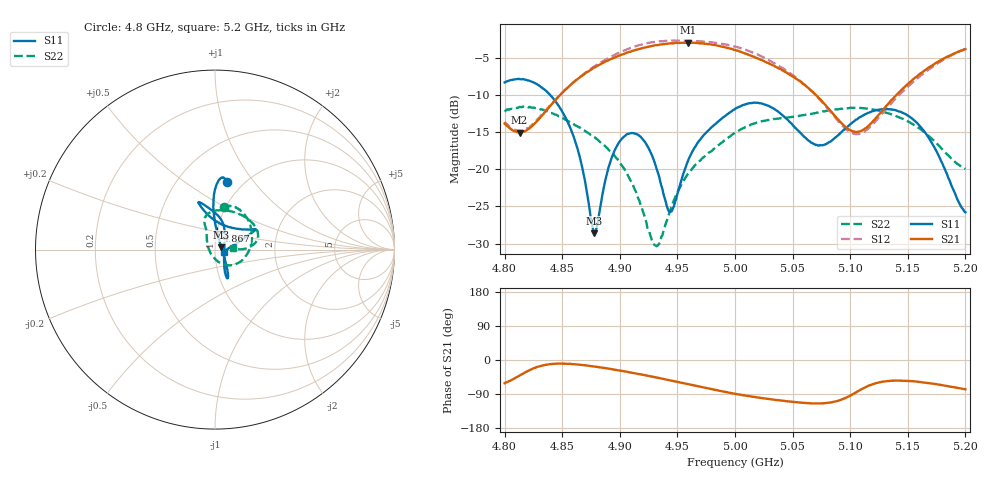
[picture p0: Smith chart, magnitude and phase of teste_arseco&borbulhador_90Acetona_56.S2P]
! Network Analyzer HP8722D
! Hewlett-Packard
! Data name: Linha & Wilkinson
! Saver's name: Rodrigo Anjos
! Comments: Teste da utilização de aquisição
! continua pelo VNA HP8722D
! Time and date: 17/4/2025 11:31
!  Frequency  S11  S21  S12  S22
# HZ  S  MA R 50
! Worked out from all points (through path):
!   401 points, 4.8 GHz to 5.2 GHz, reference 50 ohm
!   highest |S21| = -2.97 dB at 4.959 GHz (marker M1); lowest = -15.1 dB at 4.813 GHz (marker M2)
!   lowest |S11| = -28.6 dB at 4.878 GHz (marker M3), VSWR 1.08, Z = 53.6 + j1.31 ohm
!   |S11| at or under -10 dB: 4.839 GHz to end of sweep
!   |S22| runs from -30.4 to -11.6 dB; largest |S21 - S12| = 1.4
!   S11 on the Smith chart (normalised r, x): 4.8 GHz: 0.84, +0.75; 4.867 GHz: 1.00, +0.21; 5.2 GHz: 1.10, -0.03
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4.8e9  0.3833 79.9  0.2027 -61.1  0.2082 73.9  0.244 78.6
4.813e9  0.4038 83.9  0.1763 -41.0  0.1814 92.3  0.2623 67.8
4.845e9  0.2803 91.7  0.2962 -9.7  0.2991 122.9  0.2318 28.7
4.858e9  0.1812 91.2  0.3734 -10.5  0.3741 124.1  0.2041 9.5
4.867e9  0.1058 84.8  0.424 -13.2  0.4271 123.4  0.1863 -3.8
4.878e9  0.03712 19.2  0.4825 -17.2  0.4911 121.3  0.1641 -20.6
4.892e9  0.1135 -55.5  0.5497 -23.6  0.5688 116.6  0.1318 -40.7
4.904e9  0.1665 -64.2  0.5969 -29.8  0.6284 111.8  0.1003 -57.3
4.92e9  0.1588 -67.5  0.6526 -39.2  0.6947 103.1  0.05199 -89.9
4.929e9  0.1181 -63.4  0.6769 -44.5  0.7166 97.7  0.03244 -134.0
4.934e9  0.08987 -55.6  0.6849 -47.7  0.7238 94.3  0.03136 -171.9
4.944e9  0.05174 -1.8  0.7021 -54.1  0.7316 87.9  0.05359 141.6
4.959e9  0.113 61.3  0.7107 -63.8  0.7303 78.4  0.09264 119.9
4.973e9  0.17 78.3  0.6989 -72.8  0.7213 69.3  0.1207 113.7
5e9  0.2537 103.1  0.6334 -89.3  0.6682 51.7  0.1757 109.8
5.029e9  0.2672 109.0  0.517 -102.9  0.5435 35.8  0.214 93.3
5.067e9  0.1502 81.2  0.3338 -114.4  0.3326 26.2  0.2362 59.6
5.081e9  0.1506 55.3  0.257 -112.9  0.2528 29.2  0.2482 45.8
5.104e9  0.2121 31.9  0.1786 -87.3  0.1725 57.0  0.2583 26.8
5.134e9  0.2531 26.2  0.2809 -55.2  0.2679 91.0  0.2362 11.4
5.164e9  0.1806 21.7  0.4574 -59.2  0.4419 88.4  0.1786 2.8
5.2e9  0.05131 -16.6  0.6415 -77.6  0.6436 71.6  0.1004 4.5
